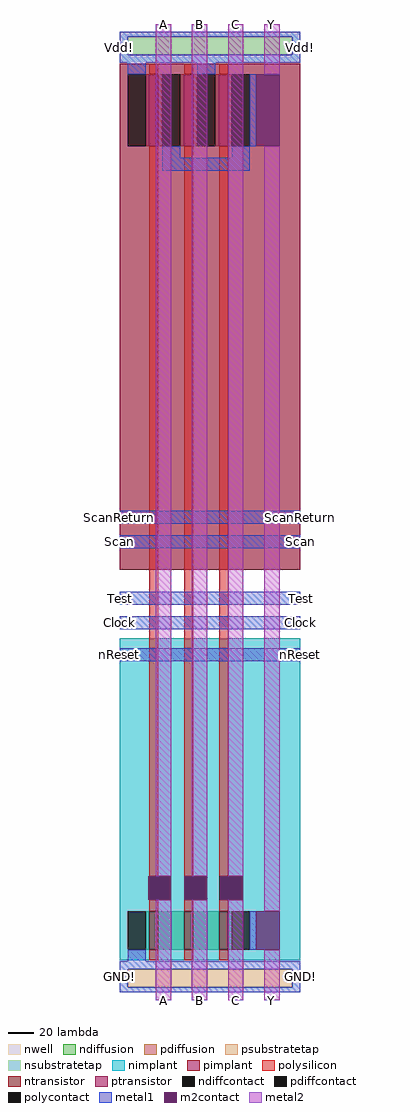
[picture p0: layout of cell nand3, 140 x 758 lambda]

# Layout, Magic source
magic
tech c35b4
<< pimplant >>
rect 0 334 140 727
<< nimplant >>
rect 0 31 140 281
<< nwell >>
rect 0 334 140 752
<< polysilicon >>
rect 23 719 30 727
rect 50 719 57 727
rect 77 719 84 727
rect 23 96 30 663
rect 50 96 57 663
rect 77 96 84 663
rect 23 69 30 78
rect 50 69 57 78
rect 77 69 84 78
rect 23 31 30 39
rect 50 31 57 39
rect 77 31 84 39
<< ndiffusion >>
rect 20 39 23 69
rect 30 39 50 69
rect 57 39 77 69
rect 84 39 87 69
<< pdiffusion >>
rect 20 663 23 719
rect 30 663 33 719
rect 47 663 50 719
rect 57 663 60 719
rect 74 663 77 719
rect 84 663 87 719
<< ntransistor >>
rect 23 39 30 69
rect 50 39 57 69
rect 77 39 84 69
<< ptransistor >>
rect 23 663 30 719
rect 50 663 57 719
rect 77 663 84 719
<< polycontact >>
rect 23 78 39 96
rect 50 78 68 96
rect 77 78 95 96
<< ndiffcontact >>
rect 6 39 20 69
rect 87 39 101 69
<< pdiffcontact >>
rect 6 663 20 719
rect 33 663 47 719
rect 60 663 74 719
rect 87 663 101 719
<< psubstratetap >>
rect 6 10 134 24
<< nsubstratetap >>
rect 6 734 134 748
<< metal1 >>
rect 0 748 140 752
rect 0 734 6 748
rect 134 734 140 748
rect 0 728 140 734
rect 6 719 20 728
rect 60 719 74 728
rect 101 663 106 719
rect 33 654 47 663
rect 87 654 101 663
rect 33 644 101 654
rect 0 370 140 380
rect 0 351 140 361
rect 0 307 140 317
rect 0 288 140 298
rect 0 263 140 273
rect 101 39 106 69
rect 6 30 20 39
rect 0 24 140 30
rect 0 10 6 24
rect 134 10 140 24
rect 0 6 140 10
<< m2contact >>
rect 106 663 124 719
rect 22 78 23 96
rect 23 78 39 96
rect 39 78 40 96
rect 50 78 68 96
rect 78 78 95 96
rect 95 78 96 96
rect 106 39 124 69
<< metal2 >>
rect 28 96 40 758
rect 56 96 68 758
rect 84 96 96 758
rect 112 719 124 758
rect 28 0 40 78
rect 56 0 68 78
rect 84 0 96 78
rect 112 69 124 663
rect 112 0 124 39
<< labels >>
rlabel metal2 28 0 40 0 1 A
rlabel metal2 56 0 68 0 1 B
rlabel metal2 84 0 96 0 1 C
rlabel metal2 112 0 124 0 1 Y
rlabel metal1 0 6 0 30 3 GND!
rlabel metal1 140 6 140 30 7 GND!
rlabel metal2 112 758 124 758 5 Y
rlabel metal2 84 758 96 758 5 C
rlabel metal2 56 758 68 758 5 B
rlabel metal2 28 758 40 758 5 A
rlabel metal1 0 728 0 752 3 Vdd!
rlabel metal1 140 728 140 752 7 Vdd!
rlabel metal1 0 263 0 273 3 nReset
rlabel metal1 0 307 0 317 3 Test
rlabel metal1 0 288 0 298 3 Clock
rlabel metal1 0 370 0 380 3 ScanReturn
rlabel metal1 0 351 0 361 3 Scan
rlabel metal1 140 263 140 273 7 nReset
rlabel metal1 140 288 140 298 7 Clock
rlabel metal1 140 307 140 317 7 Test
rlabel metal1 140 351 140 361 7 Scan
rlabel metal1 140 370 140 380 7 ScanReturn
<< end >>
